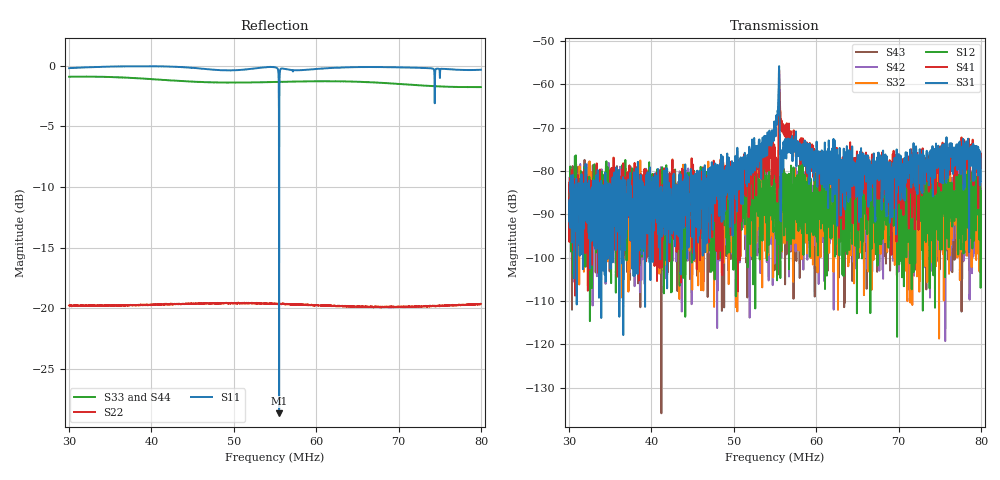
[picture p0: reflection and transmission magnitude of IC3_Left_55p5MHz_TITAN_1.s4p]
#  HZ  S  DB  R  50.00
! Rohde & Schwarz Vector Network Analyzer
! Rohde-Schwarz,ZNB8-4Port,1311601044102961,2.82
! Created: UTC 2/5/2019, 1:41:16 PM
! freq[Hz]  db:S11  ang:S11  db:S12  ang:S12  db:S13  ang:S13  db:S14  ang:S14
!  db:S21  ang:S21  db:S22  ang:S22  db:S23  ang:S23  db:S24  ang:S24
!  db:S31  ang:S31  db:S32  ang:S32  db:S33  ang:S33  db:S34  ang:S34
!  db:S41  ang:S41  db:S42  ang:S42  db:S43  ang:S43  db:S44  ang:S44
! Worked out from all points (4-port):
!   2001 points, 30 MHz to 80 MHz, reference 50 ohm
!   strongest paths, dB at 30 MHz, 42.5 MHz, 55 MHz, 67.5 MHz, 80 MHz:
!     S31: -91.6, -94.4, -71.4, -76.5, -82.4
!     S41: -86.2, -86.5, -79.7, -81.6, -77.8
!     S12: -88.9, -88.9, -79.2, -84.9, -84.6
!     S32: -85.9, -90.0, -80.3, -87.5, -90.7
!     S42: -91.8, -84.6, -85.3, -82.0, -83.0
!     S43: -89.1, -84.0, -96.1, -88.6, -103.3
!   lowest |S11| = -28.7 dB at 55.5 MHz (marker M1), VSWR 1.08, Z = 52.8 - j2.5 ohm
!   |S11| at or under -10 dB: 55.48132 MHz to 55.51838 MHz (37.06 kHz wide, 0.0668 % of centre)
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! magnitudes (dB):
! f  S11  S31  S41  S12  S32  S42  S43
! 30 MHz  -0.2  -91.6  -86.2  -88.9  -85.9  -91.8  -89.1
! 50.75 MHz  -0.3  -80.3  -82.0  -86.8  -88.4  -88.1  -99.2
! 55.1 MHz  -0.1  -70.1  -78.8  -94.8  -87.6  -83.8  -86.6
! 55.5 MHz  -28.7  -55.8  -56.6  -82.2  -83.5  -86.2  -89.9
! 55.88 MHz  -0.2  -80.3  -69.4  -84.4  -83.9  -81.6  -82.6
! 62.92 MHz  -0.1  -80.3  -81.9  -92.7  -86.8  -91.0  -83.5
! 80 MHz  -0.3  -82.4  -77.8  -84.6  -90.7  -83.0  -103.3
